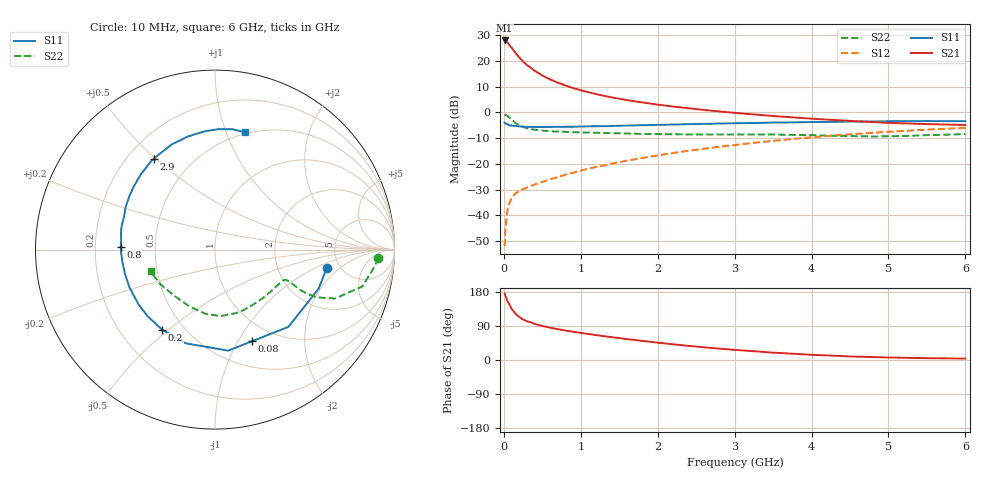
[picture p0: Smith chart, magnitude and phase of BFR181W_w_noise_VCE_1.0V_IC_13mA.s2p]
! (c) 2017  Infineon Technologies AG, Munich
! Infineon Technologies  Discrete & RF Semiconductors
! BFR181W
! VCE =  1.0 V,  IC =  13 mA
! Common Emitter S-Parameters:  Jan 2017
# GHz  S  MA  R  50
!  f  S11  S21  S12  S22
! GHz  MAG  ANG  MAG  ANG  MAG  ANG  MAG  ANG
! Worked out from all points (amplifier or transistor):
!   77 points, 10 MHz to 6 GHz, reference 50 ohm
!   highest |S21| = 28.0 dB at 10 MHz (marker M1)
!   |S21| within 3 dB of that: start of sweep to 105.1 MHz
!   unconditionally stable (mu >= 1): 369.6 MHz to end of sweep
!   at 130 MHz: K = 0.50, MSG = 28.1 dB, |S12| = -32.2 dB
!   at 2.2 GHz: K = 1.26, MAG = 6.0 dB, |S12| = -15.8 dB
!   at 6 GHz: K = 1.10, MAG = -1.4 dB, |S12| = -6.0 dB
!   lowest NFmin = 1.39 dB at 450 MHz
!   S11 on the Smith chart (normalised r, x): 10 MHz: 3.95, -1.33; 80 MHz: 0.78, -1.15; 200 MHz: 0.38, -0.48; 800 MHz: 0.31, +0.01; 2.9 GHz: 0.31, +0.49; 6 GHz: 0.49, +1.17
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0.01  0.6312 -9.2  25.03 175.4  0.0025 89.1  0.9118 -2.9
0.02  0.6171 -20.7  24.51 169.2  0.0052 87.8  0.8961 -5.8
0.05  0.5939 -46.5  22.57 154.2  0.013 69.0  0.8459 -14.1
0.08  0.5506 -67.9  19.62 143.6  0.0182 62.2  0.7692 -18.6
0.1  0.5676 -82.6  18.13 134.8  0.0217 59.5  0.7212 -22.2
0.15  0.5469 -107.3  14.42 122.3  0.0265 52.6  0.6256 -25.2
0.2  0.535 -123.3  11.69 113.4  0.0295 51.2  0.5611 -25.6
0.25  0.5278 -135.5  9.769 107.0  0.0322 50.2  0.5209 -25.2
0.3  0.5242 -144.2  8.327 102.3  0.0345 50.6  0.4919 -24.5
0.4  0.5212 -156.4  6.439 95.1  0.0395 53.4  0.4601 -23.5
0.5  0.5193 -165.2  5.211 89.8  0.0444 56.0  0.4419 -23.1
0.6  0.5202 -171.7  4.386 85.3  0.0499 59.0  0.4302 -23.1
0.7  0.5224 -176.9  3.781 81.5  0.0548 61.3  0.4224 -23.5
0.8  0.5255 178.3  3.333 77.8  0.0614 64.1  0.417 -24.4
1.1  0.5355 167.2  2.461 68.6  0.0805 67.3  0.4045 -28.1
1.5  0.5491 155.5  1.841 57.8  0.1074 69.7  0.3907 -35.0
2.1  0.5753 140.7  1.355 43.7  0.1537 69.5  0.3763 -48.7
2.9  0.6101 124.0  1.01 28.4  0.2226 65.6  0.3724 -69.6
3.1  0.6161 120.0  0.951 25.3  0.2411 64.0  0.3709 -74.8
4.1  0.6497 101.7  0.739 12.9  0.3364 54.5  0.3572 -101.2
5.1  0.672 87.0  0.618 6.3  0.4274 43.1  0.3446 -135.0
6  0.6742 75.6  0.568 3.7  0.4996 32.4  0.3793 -161.3
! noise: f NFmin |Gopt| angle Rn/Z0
0.45  1.39  0.08  17  0.21
0.9  1.43  0.08  31  0.21
1.9  1.86  0.09  -144  0.21
2.4  2.07  0.11  -109  0.26
